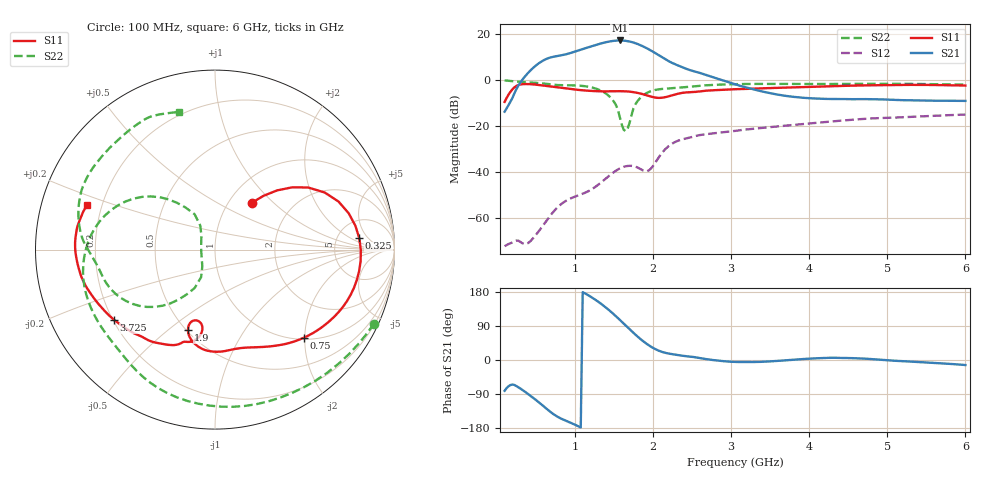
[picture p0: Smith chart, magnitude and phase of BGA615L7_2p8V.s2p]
! Infineon Technologies AG
! BGA615L7, Si-MMIC LNA in P-TSLP-7-1
! Vcc=2.8 V, Vpon=2.8 V, Icc=5.6 mA (On-Mode)
! 14. Nov. 2005
# GHZ S DB R 50
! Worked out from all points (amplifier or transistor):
!   237 points, 100 MHz to 6 GHz, reference 50 ohm
!   highest |S21| = 17.1 dB at 1.575 GHz (marker M1)
!   |S21| within 3 dB of that: 1.168 GHz to 1.898 GHz (730.1 MHz wide, 47.6 % of centre)
!   unconditionally stable (mu >= 1): start of sweep to 4.786 GHz; 5.65 GHz to end of sweep
!   at 1.075 GHz: K = 9.22, MAG = 18.7 dB, |S12| = -49.6 dB
!   at 3.05 GHz: K = 1.76, MAG = 5.1 dB, |S12| = -22.1 dB
!   at 6 GHz: K = 1.14, MAG = 0.7 dB, |S12| = -15.0 dB
!   lowest NFmin = 0.90 dB at 1.575 GHz
!   S11 on the Smith chart (normalised r, x): 100 MHz: 1.27, +0.75; 325 MHz: 8.23, +2.99; 750 MHz: 1.04, -1.99; 1.9 GHz: 0.51, -0.59; 3.725 GHz: 0.20, -0.30; 6 GHz: 0.14, +0.16
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0.1  -9.54 51.7  -13.78 -81.2  -72.06 15.1  -0.20 -24.9
0.325  -1.87 4.5  -0.03 -78.6  -70.74 -87.4  -0.90 -66.3
0.45  -1.91 -15.4  4.73 -97.4  -69.20 -52.3  -1.15 -87.9
0.575  -2.36 -29.4  8.03 -117.9  -63.88 -25.1  -1.49 -108.3
0.75  -3.13 -44.6  10.21 -146.4  -56.19 -11.3  -2.17 -131.9
1.1  -4.52 -66.1  13.37 179.2  -49.32 -10.5  -2.63 -173.3
1.25  -4.86 -73.0  14.95 160.7  -46.65 0.9  -3.57 166.5
1.375  -4.96 -78.3  16.15 142.1  -43.33 6.3  -5.41 148.1
1.475  -4.93 -83.2  16.83 124.9  -40.56 3.8  -8.36 132.8
1.575  -4.90 -89.1  17.09 105.9  -38.38 -4.1  -16.13 121.5
1.625  -4.93 -92.5  17.02 95.9  -37.68 -9.4  -21.60 157.6
1.7  -5.09 -97.7  16.64 81.2  -37.23 -17.2  -18.64 -127.2
1.8  -5.62 -104.2  15.59 62.3  -37.94 -23.7  -9.28 -126.0
1.9  -6.48 -108.5  14.06 45.6  -39.55 -12.1  -6.08 -140.0
2.075  -7.79 -104.6  10.63 24.4  -33.45 21.3  -4.08 -160.5
2.2  -7.14 -99.2  8.14 17.0  -28.72 8.6  -3.73 -169.3
2.375  -5.62 -103.4  5.50 11.3  -25.78 -14.9  -3.25 -177.0
3.05  -4.04 -127.2  -1.92 -5.1  -22.14 -59.5  -1.85 158.3
3.725  -3.28 -145.2  -7.04 -0.3  -19.74 -84.9  -1.76 140.9
4.05  -2.96 -153.4  -8.03 4.1  -18.74 -95.0  -1.77 134.6
5.025  -2.23 -176.5  -8.59 -1.3  -16.43 -126.8  -1.68 118.4
6  -2.45 160.9  -9.11 -13.2  -15.03 -153.9  -2.02 104.5
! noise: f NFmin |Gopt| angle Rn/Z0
1.575  0.9  0.264  124  0.07
